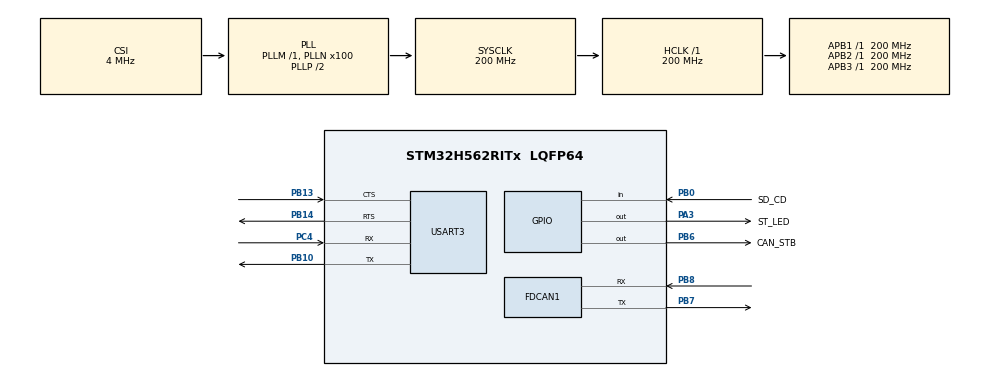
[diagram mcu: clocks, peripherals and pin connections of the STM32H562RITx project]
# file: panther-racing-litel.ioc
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BOOTPATH.BootPathName=LEGACY
BOOTPATH.UserSelectedBootPath=LEGACY
CORTEX_M33_NS.Number-Cortex_Memory_Protection_Unit_Region0_OTP_RO_AREAS_Settings=MPU_REGION_NUMBER0
CORTEX_M33_NS.default_mode_Activation=1
CORTEX_M33_NS.userName=CORTEX_M33
FDCAN1.CalculateBaudRateNominal=1000000
FDCAN1.CalculateTimeBitNominal=1000
FDCAN1.CalculateTimeQuantumNominal=25.0
FDCAN1.NominalPrescaler=5
FDCAN1.NominalSyncJumpWidth=5
FDCAN1.NominalTimeSeg1=34
FDCAN1.NominalTimeSeg2=5
FDCAN1.ProtocolException=ENABLE
GPDMA1.CIRCULARMODE_GPDMACH1=DISABLE
GPDMA1.DESTINC_GPDMACH0=DMA_DINC_INCREMENTED
GPDMA1.DESTINC_GPDMACH1=DMA_DINC_FIXED
GPDMA1.DIRECTION_GPDMACH1=DMA_MEMORY_TO_PERIPH
GPDMA1.IPHANDLE_GPDMACH0-SIMPLEREQUEST_GPDMACH0=__NULL
GPDMA1.IPHANDLE_GPDMACH1-SIMPLEREQUEST_GPDMACH1=__NULL
GPDMA1.REQUEST_GPDMACH0=GPDMA1_REQUEST_USART3_RX
GPDMA1.REQUEST_GPDMACH1=GPDMA1_REQUEST_USART3_TX
GPDMA1.SRCINC_GPDMACH1=DMA_SINC_INCREMENTED
Mcu.Family=STM32H5
Mcu.Name=STM32H562RITx
Mcu.Package=LQFP64
NVIC.FDCAN1_IT0_IRQn=true\:0\:0\:false\:false\:true\:true\:true\:true
NVIC.GPDMA1_Channel0_IRQn=true\:15\:0\:true\:false\:true\:false\:true\:true
NVIC.GPDMA1_Channel1_IRQn=true\:6\:0\:true\:false\:true\:false\:true\:true
NVIC.PriorityGroup=NVIC_PRIORITYGROUP_4
NVIC.TIM2_IRQn=true\:5\:0\:true\:false\:true\:true\:true\:true
PA13(JTMS/SWDIO).Mode=Serial_Wire
PA13(JTMS/SWDIO).Signal=DEBUG_JTMS-SWDIO
PA14(JTCK/SWCLK).Mode=Serial_Wire
PA14(JTCK/SWCLK).Signal=DEBUG_JTCK-SWCLK
PA3.GPIO_Label=ST_LED
PA3.Signal=GPIO_Output
PB0.GPIO_Label=SD_CD
PB0.Signal=GPIO_Input
PB10.Mode=Asynchronous
PB10.Signal=USART3_TX
PB13.Mode=CTS_RTS
PB13.Signal=USART3_CTS
PB14.Mode=CTS_RTS
PB14.Signal=USART3_RTS
PB3(JTDO/TRACESWO).Signal=DEBUG_JTDO-SWO
PB6.GPIO_Label=CAN_STB
PB6.Signal=GPIO_Output
PB7.Mode=FDCAN_Activate
PB7.Signal=FDCAN1_TX
PB8.Mode=FDCAN_Activate
PB8.Signal=FDCAN1_RX
PC4.Mode=Asynchronous
PC4.Signal=USART3_RX
ProjectManager.HeapSize=0x200
ProjectManager.StackSize=0x400
ProjectManager.TargetToolchain=CMake
RCC.ADCFreq_Value=200000000
RCC.AHBFreq_Value=200000000
RCC.APB1Freq_Value=200000000
RCC.APB1TimFreq_Value=200000000
RCC.APB2Freq_Value=200000000
RCC.APB2TimFreq_Value=200000000
RCC.APB3Freq_Value=200000000
RCC.CSI_VALUE=4000000
RCC.CortexFreq_Value=200000000
RCC.EPOD_VALUE=4000000
RCC.FDCANClockSelection=RCC_FDCANCLKSOURCE_PLL1Q
RCC.HCLKFreq_Value=200000000
RCC.HSE_VALUE=25000000
RCC.HSI48_VALUE=48000000
RCC.HSI_VALUE=64000000
RCC.LSE_VALUE=32768
RCC.LSIRC_VALUE=32000
RCC.PLL2FRACN=0
RCC.PLL3FRACN=0
RCC.PLLFRACN=0
RCC.PLLN=100
RCC.SYSCLKFreq_VALUE=200000000
RCC.SYSCLKSource=RCC_SYSCLKSOURCE_PLLCLK
RCC.USBFreq_Value=48000000
RCC.VCOOutputFreq_Value=400000000
TIM2.AutoReloadPreload=TIM_AUTORELOAD_PRELOAD_ENABLE
TIM2.PeriodNoDither=0xFFFFFFFF
TIM2.Prescaler=199
USART3.FIFOMode=FIFOMODE_ENABLE
USART3.RXFIFOThreshold=RXFIFO_THRESHOLD_HALFFULL
USART3.TXFIFOThreshold=TXFIFO_THRESHOLD_HALFFULL
USART3.VirtualMode-Asynchronous=VM_ASYNC
VP_BOOTPATH_VS_BOOTPATH.Mode=BP_Activate
VP_CORTEX_M33_NS_VS_Hclk.Mode=Hclk_Mode
VP_GPDMA1_VS_GPDMACH0.Mode=SIMPLEREQUEST_GPDMACH0
VP_GPDMA1_VS_GPDMACH1.Mode=SIMPLEREQUEST_GPDMACH1
VP_ICACHE_VS_ICACHE.Mode=DirectMappedCache
VP_IWDG_VS_IWDG.Mode=IWDG_Activate
VP_MEMORYMAP_VS_MEMORYMAP.Mode=CurAppReg
VP_PWR_VS_LPOM.Mode=PowerOptimisation
VP_PWR_VS_SECSignals.Mode=Security/Privilege
VP_RTC_VS_RTC_Activate.Mode=RTC_Enabled
VP_TIM2_VS_ClockSourceINT.Mode=Internal
board=custom

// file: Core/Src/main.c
/* USER CODE BEGIN Header */
/**
  ******************************************************************************
  * @file           : main.c
  * @brief          : Main program body
  ******************************************************************************
  * @attention
  *
  * Copyright (c) 2026 STMicroelectronics.
  * All rights reserved.
  *
  * This software is licensed under terms that can be found in the LICENSE file
  * in the root directory of this software component.
  * If no LICENSE file comes with this software, it is provided AS-IS.
  *
  ******************************************************************************
  */
/* USER CODE END Header */
#include "main.h"
#include "fdcan.h"
#include "gpdma.h"
#include "icache.h"
#include "iwdg.h"
#include "rtc.h"
#include "tim.h"
#include "usart.h"
#include "gpio.h"

/* USER CODE BEGIN Includes */
#include "ring_buffer.h"
#include "can_ingest.h"
#include "can_relay.h"
#include "rf_link.h"
#include "relay_status.h"
/* USER CODE END Includes */

/* USER CODE BEGIN PV */
static ring_buffer_t rb;
/* USER CODE END PV */

void SystemClock_Config(void);
static void MPU_Config(void);

int main(void)
{

  /* MCU Configuration--------------------------------------------------------*/

  /* MPU Configuration--------------------------------------------------------*/
  MPU_Config();

  /* Reset of all peripherals, Initializes the Flash interface and the Systick. */
  HAL_Init();

  /* Configure the system clock */
  SystemClock_Config();

  /* Initialize all configured peripherals */
  MX_GPIO_Init();
  MX_GPDMA1_Init();
  MX_FDCAN1_Init();
  MX_ICACHE_Init();
  MX_USART3_UART_Init();
  MX_TIM2_Init();
  MX_IWDG_Init();
  MX_RTC_Init();
  /* USER CODE BEGIN 2 */
  HAL_GPIO_WritePin(CAN_STB_GPIO_Port, CAN_STB_Pin, GPIO_PIN_RESET);
  ring_buffer_init(&rb);

  if (!can_ingest_init(&hfdcan1, &rb)) Error_Handler();
  can_ingest_start();          /* notifications + HAL_FDCAN_Start */

  rf_link_init(&rb);
  can_relay_init();
  HAL_IWDG_Refresh(&hiwdg);

  /* USER CODE END 2 */

  /* Infinite loop */
  /* USER CODE BEGIN WHILE */
  while (1)
  {
        rf_link_poll();      // ring buffer -> RFD900ux UART; RFD900ux UART -> CAN TX mailbox
        can_relay_poll();    // CAN TX mailbox -> FIFO; bus-off recovery
        relay_status_collect();
        HAL_IWDG_Refresh(&hiwdg);
    /* USER CODE END WHILE */

  }
}

void SystemClock_Config(void)
{
  RCC_OscInitTypeDef RCC_OscInitStruct = {0};
  RCC_ClkInitTypeDef RCC_ClkInitStruct = {0};

  /** Configure the main internal regulator output voltage
  */
  __HAL_PWR_VOLTAGESCALING_CONFIG(PWR_REGULATOR_VOLTAGE_SCALE1);

  while(!__HAL_PWR_GET_FLAG(PWR_FLAG_VOSRDY)) {}

  /** Initializes the RCC Oscillators according to the specified parameters
  * in the RCC_OscInitTypeDef structure.
  */
  RCC_OscInitStruct.OscillatorType = RCC_OSCILLATORTYPE_LSI|RCC_OSCILLATORTYPE_CSI;
  RCC_OscInitStruct.LSIState = RCC_LSI_ON;
  RCC_OscInitStruct.CSIState = RCC_CSI_ON;
  RCC_OscInitStruct.CSICalibrationValue = RCC_CSICALIBRATION_DEFAULT;
  RCC_OscInitStruct.PLL.PLLState = RCC_PLL_ON;
  RCC_OscInitStruct.PLL.PLLSource = RCC_PLL1_SOURCE_CSI;
  RCC_OscInitStruct.PLL.PLLM = 1;
  RCC_OscInitStruct.PLL.PLLN = 100;
  RCC_OscInitStruct.PLL.PLLP = 2;
  RCC_OscInitStruct.PLL.PLLQ = 2;
  RCC_OscInitStruct.PLL.PLLR = 2;
  RCC_OscInitStruct.PLL.PLLRGE = RCC_PLL1_VCIRANGE_2;
  RCC_OscInitStruct.PLL.PLLVCOSEL = RCC_PLL1_VCORANGE_WIDE;
  RCC_OscInitStruct.PLL.PLLFRACN = 0;
  if (HAL_RCC_OscConfig(&RCC_OscInitStruct) != HAL_OK)
  {
    Error_Handler();
  }

  /** Initializes the CPU, AHB and APB buses clocks
  */
  RCC_ClkInitStruct.ClockType = RCC_CLOCKTYPE_HCLK|RCC_CLOCKTYPE_SYSCLK
                              |RCC_CLOCKTYPE_PCLK1|RCC_CLOCKTYPE_PCLK2
                              |RCC_CLOCKTYPE_PCLK3;
  RCC_ClkInitStruct.SYSCLKSource = RCC_SYSCLKSOURCE_PLLCLK;
  RCC_ClkInitStruct.AHBCLKDivider = RCC_SYSCLK_DIV1;
  RCC_ClkInitStruct.APB1CLKDivider = RCC_HCLK_DIV1;
  RCC_ClkInitStruct.APB2CLKDivider = RCC_HCLK_DIV1;
  RCC_ClkInitStruct.APB3CLKDivider = RCC_HCLK_DIV1;

  if (HAL_RCC_ClockConfig(&RCC_ClkInitStruct, FLASH_LATENCY_5) != HAL_OK)
  {
    Error_Handler();
  }

  /** Configure the programming delay
  */
  __HAL_FLASH_SET_PROGRAM_DELAY(FLASH_PROGRAMMING_DELAY_2);
}

 /* MPU Configuration */

void MPU_Config(void)
{
  MPU_Region_InitTypeDef MPU_InitStruct = {0};
  MPU_Attributes_InitTypeDef MPU_AttributesInit = {0};

  /* Disables the MPU */
  HAL_MPU_Disable();

  /** Initializes and configures the Region 0 and the memory to be protected
  */
  MPU_InitStruct.Enable = MPU_REGION_ENABLE;
  MPU_InitStruct.Number = MPU_REGION_NUMBER0;
  MPU_InitStruct.BaseAddress = 0x08FFF000;
  MPU_InitStruct.LimitAddress = 0x08FFFFFF;
  MPU_InitStruct.AttributesIndex = MPU_ATTRIBUTES_NUMBER0;
  MPU_InitStruct.AccessPermission = MPU_REGION_ALL_RO;
  MPU_InitStruct.DisableExec = MPU_INSTRUCTION_ACCESS_DISABLE;
  MPU_InitStruct.IsShareable = MPU_ACCESS_NOT_SHAREABLE;

  HAL_MPU_ConfigRegion(&MPU_InitStruct);

  /** Initializes and configures the Attribute 0 and the memory to be protected
  */
  MPU_AttributesInit.Number = MPU_ATTRIBUTES_NUMBER0;
  MPU_AttributesInit.Attributes = INNER_OUTER(MPU_NOT_CACHEABLE);

  HAL_MPU_ConfigMemoryAttributes(&MPU_AttributesInit);
  /* Enables the MPU */
  HAL_MPU_Enable(MPU_PRIVILEGED_DEFAULT);

}

void Error_Handler(void)
{
  __disable_irq();
  while (1)
  {
  }
}
